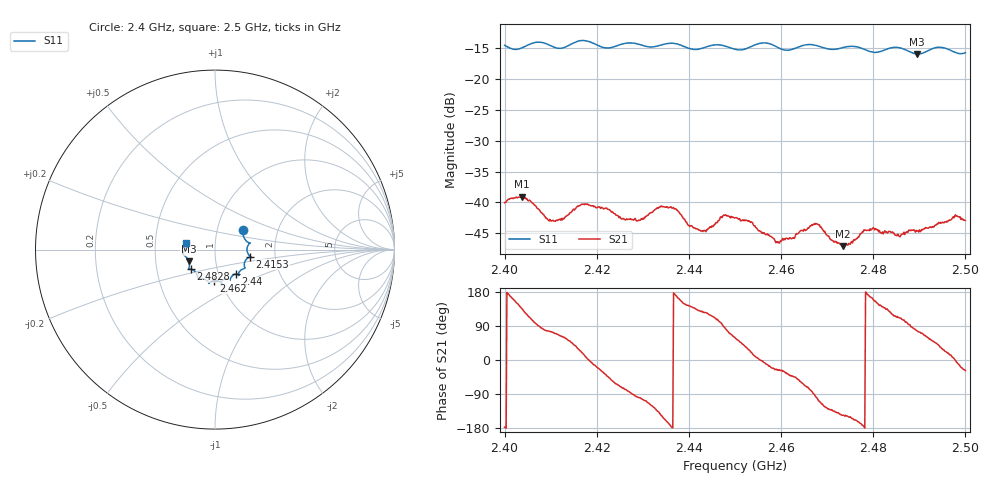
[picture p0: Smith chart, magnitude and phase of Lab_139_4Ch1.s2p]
# Hz S RI R 50
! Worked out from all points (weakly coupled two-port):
!   601 points, 2.4 GHz to 2.5 GHz, reference 50 ohm
!   highest |S21| = -39.05 dB at 2.4037 GHz (marker M1); lowest = -47.1 dB at 2.4735 GHz (marker M2)
!   lowest |S11| = -15.9 dB at 2.4895 GHz (marker M3), VSWR 1.38, Z = 37 - j5 ohm
!   |S11| at or under -10 dB: start of sweep to end of sweep
!   S12 and S22 are empty: the file has one direction only
!   S11 on the Smith chart (normalised r, x): 2.4 GHz: 1.33, +0.30; 2.4153 GHz: 1.48, -0.12; 2.44 GHz: 1.21, -0.34; 2.462 GHz: 0.93, -0.33; 2.4828 GHz: 0.74, -0.17; 2.5 GHz: 0.72, +0.06
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2.4e9  0.1555 0.1069  -0.00992 -0.000478  0 0  0 0
2.403667e9  0.1721 0.051  -0.00805 0.00772  0 0  0 0
2.409833e9  0.1864 0.0274  0.00188 0.00703  0 0  0 0
2.415333e9  0.196 -0.039  0.007 0.00547  0 0  0 0
2.416667e9  0.2016 -0.0428  0.00901 0.00341  0 0  0 0
2.429e9  0.1617 -0.1056  -0.00108 -0.00704  0 0  0 0
2.433333e9  0.1308 -0.1336  -0.00645 -0.00621  0 0  0 0
2.437e9  0.1321 -0.1435  -0.00881 0.00112  0 0  0 0
2.44e9  0.1143 -0.1365  -0.00517 0.00394  0 0  0 0
2.443167e9  0.0883 -0.1566  -0.00352 0.00473  0 0  0 0
2.447333e9  0.0835 -0.1684  -0.000233 0.00772  0 0  0 0
2.45e9  0.0651 -0.1626  0.00387 0.00642  0 0  0 0
2.459167e9  0.0293 -0.1798  0.00421 -0.00212  0 0  0 0
2.462e9  -0.0053 -0.1731  0.00392 -0.00335  0 0  0 0
2.466667e9  -0.0343 -0.1878  0.000853 -0.00655  0 0  0 0
2.4735e9  -0.0843 -0.1603  -0.00364 -0.0025  0 0  0 0
2.478167e9  -0.0994 -0.1431  -0.00595 -2.4e-05  0 0  0 0
2.482833e9  -0.1365 -0.1092  -0.00398 0.00419  0 0  0 0
2.483333e9  -0.1403 -0.109  -0.00371 0.00448  0 0  0 0
2.4895e9  -0.1462 -0.0659  0.00132 0.00573  0 0  0 0
2.494167e9  -0.1805 -0.0222  0.00531 0.00438  0 0  0 0
2.5e9  -0.1595 0.039  0.00629 -0.00335  0 0  0 0
